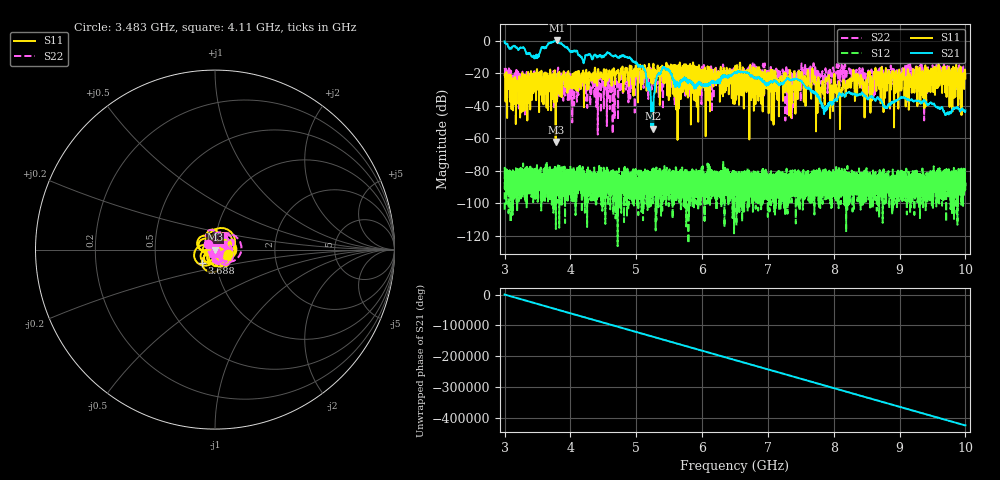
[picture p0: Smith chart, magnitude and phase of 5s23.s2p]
!Agilent Technologies,E8363B,MY43030572,A.06.04.32
!Agilent E8363B: A.06.04.32
!Date: Tuesday, June 07, 2011 08:14:37
!Correction: S11(Full 2 Port(1,2)) S21(Full 2 Port(1,2)) S12(Full 2 Port(1,2)) S22(Full 2 Port(1,2))
!S2P File: Measurements: S11, S21, S12, S22:
# Hz S  dB  R 50
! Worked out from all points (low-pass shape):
!   6401 points, 3 GHz to 10 GHz, reference 50 ohm
!   highest |S21| = 0.10 dB at 3.8 GHz (marker M1); lowest = -54.2 dB at 5.256 GHz (marker M2)
!   |S21| within 3 dB of the highest: start of sweep to 3.048 GHz; 3.651 GHz to 3.887 GHz (235.7 MHz wide, 6.25 % of centre)
!   lowest |S11| = -62.3 dB at 3.775 GHz (marker M3), VSWR 1.00, Z = 50 - j0.0759 ohm
!   |S11| at or under -10 dB: start of sweep to end of sweep
!   |S22| runs from -57.8 to -13.9 dB; largest |S21 - S12| = 1
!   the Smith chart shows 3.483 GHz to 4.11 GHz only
!   S11 on the Smith chart (normalised r, x): 3.483 GHz: 1.15, -0.05; 3.688 GHz: 0.85, -0.13; 4.11 GHz: 1.14, -0.08
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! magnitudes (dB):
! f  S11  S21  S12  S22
! 3 GHz  -21.3  -0.5  -104.0  -16.8
! 3.202 GHz  -25.4  -5.4  -84.9  -19.3
! 3.483 GHz  -22.5  -8.7  -87.7  -25.9
! 3.688 GHz  -19.5  -1.5  -92.0  -22.4
! 3.775 GHz  -62.3  -0.4  -89.7  -31.5
! 3.8 GHz  -24.6  0.1  -85.2  -33.5
! 4.11 GHz  -22.8  -7.6  -90.7  -29.2
! 4.167 GHz  -21.1  -10.1  -85.6  -24.7
! 4.901 GHz  -15.5  -10.4  -89.7  -22.4
! 5.114 GHz  -23.1  -16.9  -90.6  -25.4
! 5.256 GHz  -14.9  -54.2  -80.0  -20.4
! 5.334 GHz  -19.5  -20.4  -88.4  -26.7
! 5.901 GHz  -21.7  -27.1  -92.8  -20.0
! 6.5 GHz  -18.6  -19.9  -89.4  -22.4
! 7.055 GHz  -28.5  -25.2  -92.4  -19.5
! 7.353 GHz  -35.5  -24.4  -87.5  -19.9
! 7.667 GHz  -19.5  -31.6  -83.3  -17.4
! 7.87 GHz  -26.5  -41.3  -97.6  -17.9
! 7.967 GHz  -27.8  -39.4  -87.7  -21.1
! 8.222 GHz  -24.7  -31.8  -86.1  -18.2
! 8.834 GHz  -19.2  -39.1  -92.8  -21.6
! 10 GHz  -23.2  -43.0  -92.1  -21.0
